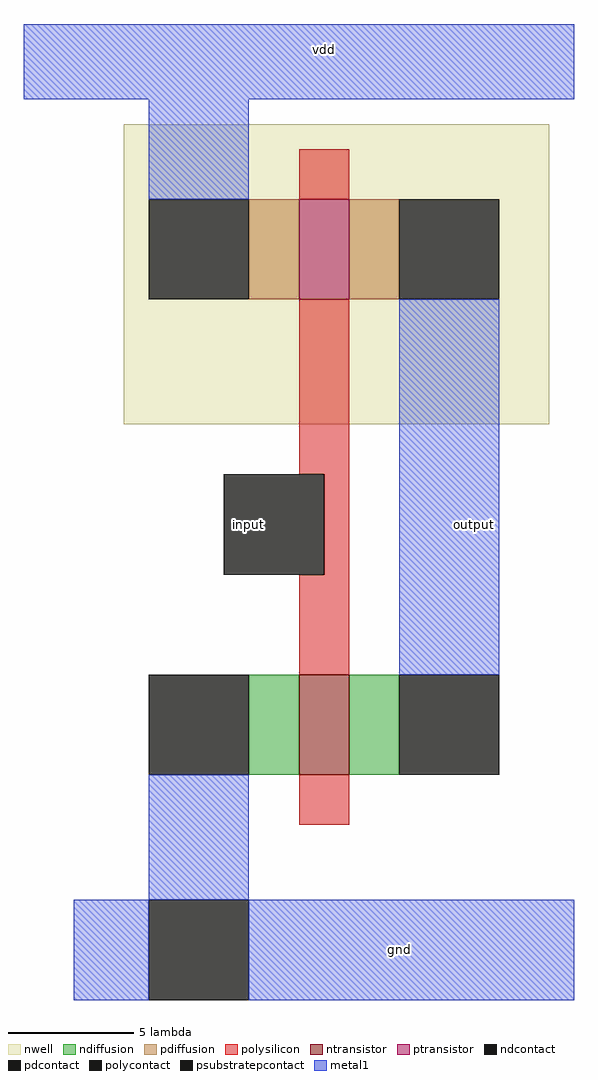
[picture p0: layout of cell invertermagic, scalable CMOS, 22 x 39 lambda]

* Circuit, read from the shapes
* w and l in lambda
.subckt invertermagic gnd input output vdd
M1 output input gnd gnd nfet w=4 l=2
M2 output input vdd n1 pfet w=4 l=2
.ends

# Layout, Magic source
magic
tech scmos
<< nwell >>
rect -8 -5 9 7
<< polysilicon >>
rect -1 4 1 6
rect -1 -7 1 0
rect 0 -11 1 -7
rect -1 -15 1 -11
rect -1 -21 1 -19
<< ndiffusion >>
rect -3 -19 -1 -15
rect 1 -19 3 -15
<< pdiffusion >>
rect -3 0 -1 4
rect 1 0 3 4
<< metal1 >>
rect -12 8 10 11
rect -7 4 -3 8
rect 3 -15 7 0
rect -7 -24 -3 -19
rect -10 -28 -7 -24
rect -3 -28 10 -24
<< ntransistor >>
rect -1 -19 1 -15
<< ptransistor >>
rect -1 0 1 4
<< polycontact >>
rect -4 -11 0 -7
<< ndcontact >>
rect -7 -19 -3 -15
rect 3 -19 7 -15
<< pdcontact >>
rect -7 0 -3 4
rect 3 0 7 4
<< psubstratepcontact >>
rect -7 -28 -3 -24
<< labels >>
rlabel metal1 0 10 0 10 5 vdd
rlabel metal1 3 -26 3 -26 1 gnd
rlabel polycontact -3 -9 -3 -9 1 input
rlabel metal1 6 -9 6 -9 7 output
<< end >>
